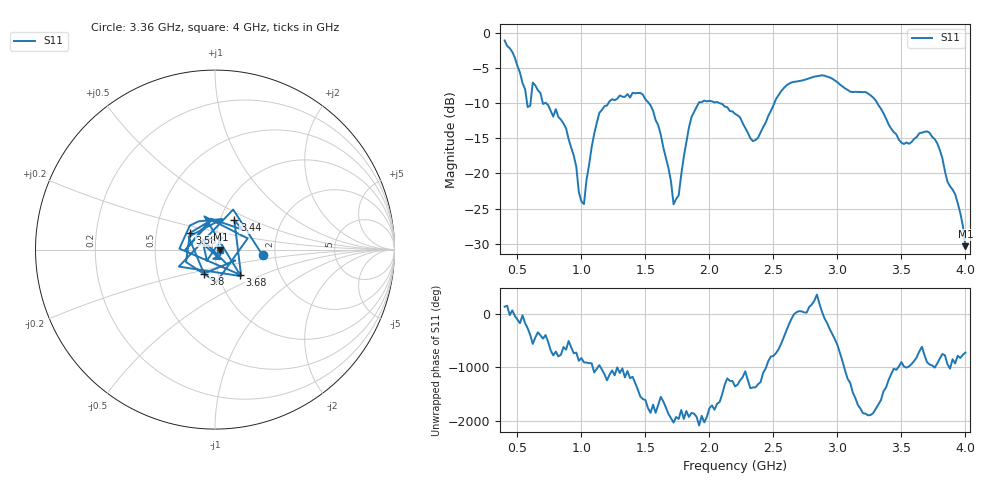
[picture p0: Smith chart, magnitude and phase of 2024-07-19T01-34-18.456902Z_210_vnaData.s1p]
!Created with skrf (http://scikit-rf.org).
# Hz S RI R 50.0
!freq ReS11 ImS11
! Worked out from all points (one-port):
!   181 points, 400 MHz to 4 GHz, reference 50 ohm
!   lowest |S11| = -30.3 dB at 4 GHz (marker M1), VSWR 1.06, Z = 53.1 - j0.0977 ohm
!   |S11| at or under -10 dB: 721.4 MHz to 1.212 GHz (490.6 MHz wide, 50.7 % of centre); 2.075 GHz to 2.508 GHz (432.9 MHz wide, 18.9 % of centre); 3.311 GHz to end of sweep (the widest 3 of 6)
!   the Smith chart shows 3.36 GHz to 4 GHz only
!   S11 on the Smith chart (normalised r, x): 3.36 GHz: 1.72, -0.12; 3.44 GHz: 1.17, +0.40; 3.58 GHz: 0.74, +0.14; 3.68 GHz: 1.26, -0.37; 3.8 GHz: 0.86, -0.23; 4 GHz: 1.06, -0.00
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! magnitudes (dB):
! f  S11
! 400 MHz  -1.1
! 480 MHz  -3.6
! 580 MHz  -10.6
! 620 MHz  -7.1
! 860 MHz  -12.9
! 1.02 GHz  -24.4
! 1.08 GHz  -16.3
! 1.14 GHz  -11.4
! 1.3 GHz  -8.9
! 1.54 GHz  -10.3
! 1.62 GHz  -14.5
! 1.72 GHz  -24.4
! 1.76 GHz  -23.1
! 1.84 GHz  -13.5
! 1.92 GHz  -9.9
! 2.2 GHz  -11.5
! 2.36 GHz  -15.3
! 2.66 GHz  -7.0
! 2.9 GHz  -6.1
! 3.1 GHz  -8.4
! 3.36 GHz  -11.5
! 3.44 GHz  -14.1
! 3.56 GHz  -15.8
! 3.58 GHz  -15.5
! 3.68 GHz  -14.1
! 3.8 GHz  -16.7
! 3.94 GHz  -24.2
! 4 GHz  -30.3
